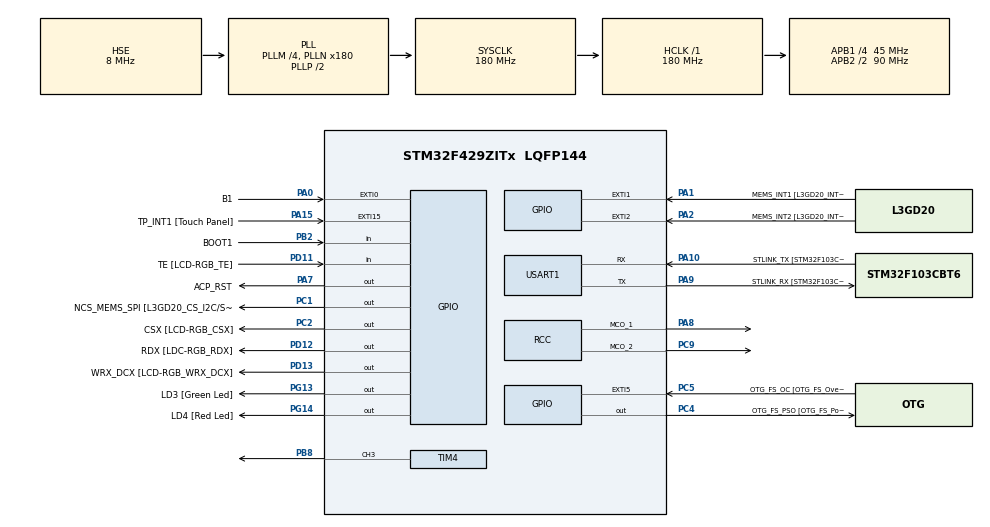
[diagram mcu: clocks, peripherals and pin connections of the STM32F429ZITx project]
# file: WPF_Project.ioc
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Mcu.Family=STM32F4
Mcu.Name=STM32F429ZITx
Mcu.Package=LQFP144
NVIC.EXTI0_IRQn=true\:0\:0\:false\:false\:true\:true\:true\:true
NVIC.PriorityGroup=NVIC_PRIORITYGROUP_4
NVIC.USART1_IRQn=true\:0\:0\:false\:false\:true\:true\:true\:true
PA0/WKUP.GPIO_Label=B1
PA0/WKUP.Signal=GPXTI0
PA1.GPIO_Label=MEMS_INT1 [L3GD20_INT1]
PA1.GPIO_ModeDefaultEXTI=GPIO_MODE_EVT_RISING
PA1.GPIO_PuPd=GPIO_NOPULL
PA1.Signal=GPXTI1
PA10.GPIO_Label=STLINK_TX [STM32F103CBT6_PA2]
PA10.Mode=Asynchronous
PA10.Signal=USART1_RX
PA11.GPIO_Label=R4
PA11.GPIO_Mode=GPIO_MODE_AF_PP
PA11.GPIO_PuPd=GPIO_NOPULL
PA11.GPIO_Speed=GPIO_SPEED_FREQ_LOW
PA11.Signal=LTDC_R4
PA12.GPIO_Label=R5
PA12.GPIO_Mode=GPIO_MODE_AF_PP
PA12.GPIO_PuPd=GPIO_NOPULL
PA12.GPIO_Speed=GPIO_SPEED_FREQ_LOW
PA12.Signal=LTDC_R5
PA13.GPIO_Label=SWDIO
PA13.Mode=Serial_Wire
PA13.Signal=SYS_JTMS-SWDIO
PA14.GPIO_Label=SWCLK
PA14.Mode=Serial_Wire
PA14.Signal=SYS_JTCK-SWCLK
PA15.GPIO_Label=TP_INT1 [Touch Panel]
PA15.GPIO_ModeDefaultEXTI=GPIO_MODE_EVT_RISING
PA15.GPIO_PuPd=GPIO_NOPULL
PA15.Signal=GPXTI15
PA2.GPIO_Label=MEMS_INT2 [L3GD20_INT2]
PA2.GPIO_ModeDefaultEXTI=GPIO_MODE_EVT_RISING
PA2.GPIO_PuPd=GPIO_NOPULL
PA2.Signal=GPXTI2
PA3.GPIO_Label=B5
PA3.GPIO_Mode=GPIO_MODE_AF_PP
PA3.GPIO_PuPd=GPIO_NOPULL
PA3.GPIO_Speed=GPIO_SPEED_FREQ_LOW
PA3.Signal=LTDC_B5
PA4.GPIO_Label=VSYNC
PA4.GPIO_Mode=GPIO_MODE_AF_PP
PA4.GPIO_PuPd=GPIO_NOPULL
PA4.GPIO_Speed=GPIO_SPEED_FREQ_LOW
PA4.Signal=LTDC_VSYNC
PA6.GPIO_Label=G2
PA6.GPIO_Mode=GPIO_MODE_AF_PP
PA6.GPIO_PuPd=GPIO_NOPULL
PA6.GPIO_Speed=GPIO_SPEED_FREQ_LOW
PA6.Signal=LTDC_G2
PA7.GPIO_Label=ACP_RST
PA7.GPIO_Mode=GPIO_MODE_OUTPUT_PP
PA7.GPIO_PuPd=GPIO_NOPULL
PA7.GPIO_Speed=GPIO_SPEED_FREQ_LOW
PA7.Signal=GPIO_Output
PA8.Mode=Clock-out-1
PA8.Signal=RCC_MCO_1
PA9.GPIO_Label=STLINK_RX [STM32F103CBT6_PA3]
PA9.Mode=Asynchronous
PA9.Signal=USART1_TX
PB0.GPIO_Label=R3
PB0.GPIO_Mode=GPIO_MODE_AF_PP
PB0.GPIO_PuPd=GPIO_NOPULL
PB0.GPIO_Speed=GPIO_SPEED_FREQ_LOW
PB0.Signal=LTDC_R3
PB1.GPIO_Label=R6
PB1.GPIO_Mode=GPIO_MODE_AF_PP
PB1.GPIO_PuPd=GPIO_NOPULL
PB1.GPIO_Speed=GPIO_SPEED_FREQ_LOW
PB1.Signal=LTDC_R6
PB10.GPIO_Label=G4
PB10.GPIO_Mode=GPIO_MODE_AF_PP
PB10.GPIO_PuPd=GPIO_NOPULL
PB10.GPIO_Speed=GPIO_SPEED_FREQ_LOW
PB10.Signal=LTDC_G4
PB11.GPIO_Label=G5
PB11.GPIO_Mode=GPIO_MODE_AF_PP
PB11.GPIO_PuPd=GPIO_NOPULL
PB11.GPIO_Speed=GPIO_SPEED_FREQ_LOW
PB11.Signal=LTDC_G5
PB12.GPIO_Label=OTG_HS_ID
PB12.GPIO_Mode=GPIO_MODE_AF_PP
PB12.GPIO_PuPd=GPIO_NOPULL
PB12.GPIO_Speed=GPIO_SPEED_FREQ_LOW
PB12.Signal=USB_OTG_HS_ID
PB13.GPIO_Label=VBUS_HS
PB13.GPIO_Mode=GPIO_MODE_INPUT
PB13.GPIO_PuPd=GPIO_NOPULL
PB13.Signal=USB_OTG_HS_VBUS
PB14.GPIO_Label=OTG_HS_DM
PB14.GPIO_Mode=GPIO_MODE_AF_PP
PB14.GPIO_PuPd=GPIO_NOPULL
PB14.GPIO_Speed=GPIO_SPEED_FREQ_LOW
PB14.Signal=USB_OTG_HS_DM
PB15.GPIO_Label=OTG_HS_DP
PB15.GPIO_Mode=GPIO_MODE_AF_PP
PB15.GPIO_PuPd=GPIO_NOPULL
PB15.GPIO_Speed=GPIO_SPEED_FREQ_LOW
PB15.Signal=USB_OTG_HS_DP
PB2/BOOT1.GPIO_Label=BOOT1
PB2/BOOT1.GPIO_Mode=GPIO_MODE_INPUT
PB2/BOOT1.GPIO_PuPd=GPIO_NOPULL
PB2/BOOT1.Signal=GPIO_Input
PB5.GPIO_Label=SDCKE1
PB5.GPIO_Mode=GPIO_MODE_AF_PP
PB5.GPIO_PuPd=GPIO_NOPULL
PB5.GPIO_Speed=GPIO_SPEED_FREQ_VERY_HIGH
PB5.Signal=FMC_SDCKE1
PB6.GPIO_Label=SDNE1 [SDRAM_CS]
PB6.GPIO_Mode=GPIO_MODE_AF_PP
PB6.GPIO_PuPd=GPIO_NOPULL
PB6.GPIO_Speed=GPIO_SPEED_FREQ_VERY_HIGH
PB6.Signal=FMC_SDNE1
PB8.Signal=S_TIM4_CH3
PB9.GPIO_Label=B7
PB9.GPIO_Mode=GPIO_MODE_AF_PP
PB9.GPIO_PuPd=GPIO_NOPULL
PB9.GPIO_Speed=GPIO_SPEED_FREQ_LOW
PB9.Signal=LTDC_B7
PC0.GPIO_Label=SDNWE
PC0.GPIO_Mode=GPIO_MODE_AF_PP
PC0.GPIO_PuPd=GPIO_NOPULL
PC0.GPIO_Speed=GPIO_SPEED_FREQ_VERY_HIGH
PC0.Signal=FMC_SDNWE
PC1.GPIO_Label=NCS_MEMS_SPI [L3GD20_CS_I2C/SPI]
PC1.GPIO_Mode=GPIO_MODE_OUTPUT_PP
PC1.GPIO_PuPd=GPIO_NOPULL
PC1.GPIO_Speed=GPIO_SPEED_FREQ_LOW
PC1.Signal=GPIO_Output
PC10.GPIO_Label=R2
PC10.GPIO_Mode=GPIO_MODE_AF_PP
PC10.GPIO_PuPd=GPIO_NOPULL
PC10.GPIO_Speed=GPIO_SPEED_FREQ_LOW
PC10.Signal=LTDC_R2
PC14/OSC32_IN.GPIO_Label=PC14-OSC32_IN
PC14/OSC32_IN.Signal=RCC_OSC32_IN
PC15/OSC32_OUT.GPIO_Label=PC15-OSC32_OUT
PC15/OSC32_OUT.Signal=RCC_OSC32_OUT
PC2.GPIO_Label=CSX [LCD-RGB_CSX]
PC2.GPIO_Mode=GPIO_MODE_OUTPUT_PP
PC2.GPIO_PuPd=GPIO_NOPULL
PC2.GPIO_Speed=GPIO_SPEED_FREQ_LOW
PC2.Signal=GPIO_Output
PC4.GPIO_Label=OTG_FS_PSO [OTG_FS_PowerSwitchOn]
PC4.GPIO_Mode=GPIO_MODE_OUTPUT_PP
PC4.GPIO_PuPd=GPIO_NOPULL
PC4.GPIO_Speed=GPIO_SPEED_FREQ_LOW
PC4.Signal=GPIO_Output
PC5.GPIO_Label=OTG_FS_OC [OTG_FS_OverCurrent]
PC5.GPIO_ModeDefaultEXTI=GPIO_MODE_EVT_RISING
PC5.Signal=GPXTI5
PC6.GPIO_Label=HSYNC
PC6.GPIO_Mode=GPIO_MODE_AF_PP
PC6.GPIO_PuPd=GPIO_NOPULL
PC6.GPIO_Speed=GPIO_SPEED_FREQ_LOW
PC6.Signal=LTDC_HSYNC
PC7.GPIO_Label=G6
PC7.GPIO_Mode=GPIO_MODE_AF_PP
PC7.GPIO_PuPd=GPIO_NOPULL
PC7.GPIO_Speed=GPIO_SPEED_FREQ_LOW
PC7.Signal=LTDC_G6
PC9.Mode=Clock-out-2
PC9.Signal=RCC_MCO_2
PD0.GPIO_Label=D2
PD0.GPIO_Mode=GPIO_MODE_AF_PP
PD0.GPIO_PuPd=GPIO_NOPULL
PD0.GPIO_Speed=GPIO_SPEED_FREQ_VERY_HIGH
PD0.Signal=FMC_D2_DA2
PD1.GPIO_Label=D3
PD1.GPIO_Mode=GPIO_MODE_AF_PP
PD1.GPIO_PuPd=GPIO_NOPULL
PD1.GPIO_Speed=GPIO_SPEED_FREQ_VERY_HIGH
PD1.Signal=FMC_D3_DA3
PD10.GPIO_Label=D15
PD10.GPIO_Mode=GPIO_MODE_AF_PP
PD10.GPIO_PuPd=GPIO_NOPULL
PD10.GPIO_Speed=GPIO_SPEED_FREQ_VERY_HIGH
PD10.Signal=FMC_D15_DA15
PD11.GPIO_Label=TE [LCD-RGB_TE]
PD11.GPIO_Mode=GPIO_MODE_INPUT
PD11.GPIO_PuPd=GPIO_NOPULL
PD11.Signal=GPIO_Input
PD12.GPIO_Label=RDX [LDC-RGB_RDX]
PD12.GPIO_Mode=GPIO_MODE_OUTPUT_PP
PD12.GPIO_PuPd=GPIO_NOPULL
PD12.GPIO_Speed=GPIO_SPEED_FREQ_LOW
PD12.Signal=GPIO_Output
PD13.GPIO_Label=WRX_DCX [LCD-RGB_WRX_DCX]
PD13.GPIO_Mode=GPIO_MODE_OUTPUT_PP
PD13.GPIO_PuPd=GPIO_NOPULL
PD13.GPIO_Speed=GPIO_SPEED_FREQ_LOW
PD13.Signal=GPIO_Output
PD14.GPIO_Label=D0
PD14.GPIO_Mode=GPIO_MODE_AF_PP
PD14.GPIO_PuPd=GPIO_NOPULL
PD14.GPIO_Speed=GPIO_SPEED_FREQ_VERY_HIGH
PD14.Signal=FMC_D0_DA0
PD15.GPIO_Label=D1
PD15.GPIO_Mode=GPIO_MODE_AF_PP
PD15.GPIO_PuPd=GPIO_NOPULL
PD15.GPIO_Speed=GPIO_SPEED_FREQ_VERY_HIGH
PD15.Signal=FMC_D1_DA1
PD3.GPIO_Label=G7
PD3.GPIO_Mode=GPIO_MODE_AF_PP
PD3.GPIO_PuPd=GPIO_NOPULL
PD3.GPIO_Speed=GPIO_SPEED_FREQ_LOW
PD3.Signal=LTDC_G7
PD6.GPIO_Label=B2
PD6.GPIO_Mode=GPIO_MODE_AF_PP
PD6.GPIO_PuPd=GPIO_NOPULL
PD6.GPIO_Speed=GPIO_SPEED_FREQ_LOW
PD6.Signal=LTDC_B2
PD8.GPIO_Label=D13
PD8.GPIO_Mode=GPIO_MODE_AF_PP
PD8.GPIO_PuPd=GPIO_NOPULL
PD8.GPIO_Speed=GPIO_SPEED_FREQ_VERY_HIGH
PD8.Signal=FMC_D13_DA13
PD9.GPIO_Label=D14
PD9.GPIO_Mode=GPIO_MODE_AF_PP
PD9.GPIO_PuPd=GPIO_NOPULL
PD9.GPIO_Speed=GPIO_SPEED_FREQ_VERY_HIGH
PD9.Signal=FMC_D14_DA14
PE0.GPIO_Label=NBL0 [SDRAM_LDQM]
PE0.GPIO_Mode=GPIO_MODE_AF_PP
PE0.GPIO_PuPd=GPIO_NOPULL
PE0.GPIO_Speed=GPIO_SPEED_FREQ_VERY_HIGH
PE0.Signal=FMC_NBL0
PE1.GPIO_Label=NBL1 [SDRAM_UDQM]
PE1.GPIO_Mode=GPIO_MODE_AF_PP
PE1.GPIO_PuPd=GPIO_NOPULL
PE1.GPIO_Speed=GPIO_SPEED_FREQ_VERY_HIGH
PE1.Signal=FMC_NBL1
PE10.GPIO_Label=D7
PE10.GPIO_Mode=GPIO_MODE_AF_PP
PE10.GPIO_PuPd=GPIO_NOPULL
PE10.GPIO_Speed=GPIO_SPEED_FREQ_VERY_HIGH
PE10.Signal=FMC_D7_DA7
PE11.GPIO_Label=D8
PE11.GPIO_Mode=GPIO_MODE_AF_PP
PE11.GPIO_PuPd=GPIO_NOPULL
PE11.GPIO_Speed=GPIO_SPEED_FREQ_VERY_HIGH
PE11.Signal=FMC_D8_DA8
PE12.GPIO_Label=D9
PE12.GPIO_Mode=GPIO_MODE_AF_PP
PE12.GPIO_PuPd=GPIO_NOPULL
PE12.GPIO_Speed=GPIO_SPEED_FREQ_VERY_HIGH
PE12.Signal=FMC_D9_DA9
PE13.GPIO_Label=D10
PE13.GPIO_Mode=GPIO_MODE_AF_PP
PE13.GPIO_PuPd=GPIO_NOPULL
PE13.GPIO_Speed=GPIO_SPEED_FREQ_VERY_HIGH
PE13.Signal=FMC_D10_DA10
PE14.GPIO_Label=D11
PE14.GPIO_Mode=GPIO_MODE_AF_PP
PE14.GPIO_PuPd=GPIO_NOPULL
PE14.GPIO_Speed=GPIO_SPEED_FREQ_VERY_HIGH
PE14.Signal=FMC_D11_DA11
PE15.GPIO_Label=D12
PE15.GPIO_Mode=GPIO_MODE_AF_PP
PE15.GPIO_PuPd=GPIO_NOPULL
PE15.GPIO_Speed=GPIO_SPEED_FREQ_VERY_HIGH
PE15.Signal=FMC_D12_DA12
PE7.GPIO_Label=D4
PE7.GPIO_Mode=GPIO_MODE_AF_PP
PE7.GPIO_PuPd=GPIO_NOPULL
PE7.GPIO_Speed=GPIO_SPEED_FREQ_VERY_HIGH
PE7.Signal=FMC_D4_DA4
PE8.GPIO_Label=D5
PE8.GPIO_Mode=GPIO_MODE_AF_PP
PE8.GPIO_PuPd=GPIO_NOPULL
PE8.GPIO_Speed=GPIO_SPEED_FREQ_VERY_HIGH
PE8.Signal=FMC_D5_DA5
PE9.GPIO_Label=D6
PE9.GPIO_Mode=GPIO_MODE_AF_PP
PE9.GPIO_PuPd=GPIO_NOPULL
PE9.GPIO_Speed=GPIO_SPEED_FREQ_VERY_HIGH
PE9.Signal=FMC_D6_DA6
PF0.GPIO_Label=A0
PF0.GPIO_Mode=GPIO_MODE_AF_PP
PF0.GPIO_PuPd=GPIO_NOPULL
PF0.GPIO_Speed=GPIO_SPEED_FREQ_VERY_HIGH
PF0.Signal=FMC_A0
PF1.GPIO_Label=A1
PF1.GPIO_Mode=GPIO_MODE_AF_PP
PF1.GPIO_PuPd=GPIO_NOPULL
PF1.GPIO_Speed=GPIO_SPEED_FREQ_VERY_HIGH
PF1.Signal=FMC_A1
PF10.GPIO_Label=ENABLE [LCD-RGB_ENABLE]
PF10.GPIO_Mode=GPIO_MODE_AF_PP
PF10.GPIO_PuPd=GPIO_NOPULL
PF10.GPIO_Speed=GPIO_SPEED_FREQ_LOW
PF10.Signal=LTDC_DE
PF11.GPIO_Label=SDNRAS
PF11.GPIO_Mode=GPIO_MODE_AF_PP
PF11.GPIO_PuPd=GPIO_NOPULL
PF11.GPIO_Speed=GPIO_SPEED_FREQ_VERY_HIGH
PF11.Signal=FMC_SDNRAS
PF12.GPIO_Label=A6
PF12.GPIO_Mode=GPIO_MODE_AF_PP
PF12.GPIO_PuPd=GPIO_NOPULL
PF12.GPIO_Speed=GPIO_SPEED_FREQ_VERY_HIGH
PF12.Signal=FMC_A6
PF13.GPIO_Label=A7
PF13.GPIO_Mode=GPIO_MODE_AF_PP
PF13.GPIO_PuPd=GPIO_NOPULL
PF13.GPIO_Speed=GPIO_SPEED_FREQ_VERY_HIGH
PF13.Signal=FMC_A7
PF14.GPIO_Label=A8
PF14.GPIO_Mode=GPIO_MODE_AF_PP
PF14.GPIO_PuPd=GPIO_NOPULL
PF14.GPIO_Speed=GPIO_SPEED_FREQ_VERY_HIGH
PF14.Signal=FMC_A8
PF15.GPIO_Label=A9
PF15.GPIO_Mode=GPIO_MODE_AF_PP
PF15.GPIO_PuPd=GPIO_NOPULL
PF15.GPIO_Speed=GPIO_SPEED_FREQ_VERY_HIGH
PF15.Signal=FMC_A9
PF2.GPIO_Label=A2
PF2.GPIO_Mode=GPIO_MODE_AF_PP
PF2.GPIO_PuPd=GPIO_NOPULL
PF2.GPIO_Speed=GPIO_SPEED_FREQ_VERY_HIGH
PF2.Signal=FMC_A2
PF3.GPIO_Label=A3
PF3.GPIO_Mode=GPIO_MODE_AF_PP
PF3.GPIO_PuPd=GPIO_NOPULL
PF3.GPIO_Speed=GPIO_SPEED_FREQ_VERY_HIGH
PF3.Signal=FMC_A3
PF4.GPIO_Label=A4
PF4.GPIO_Mode=GPIO_MODE_AF_PP
PF4.GPIO_PuPd=GPIO_NOPULL
PF4.GPIO_Speed=GPIO_SPEED_FREQ_VERY_HIGH
PF4.Signal=FMC_A4
PF5.GPIO_Label=A5
PF5.GPIO_Mode=GPIO_MODE_AF_PP
PF5.GPIO_PuPd=GPIO_NOPULL
PF5.GPIO_Speed=GPIO_SPEED_FREQ_VERY_HIGH
PF5.Signal=FMC_A5
PF7.GPIO_Label=SPI5_SCK [L3GD20_SCL/SPC]
PF7.GPIO_Mode=GPIO_MODE_AF_PP
PF7.GPIO_PuPd=GPIO_NOPULL
PF7.GPIO_Speed=GPIO_SPEED_FREQ_LOW
PF7.Signal=SPI5_SCK
PF8.GPIO_Label=SPI5_MISO [L3GD20_SDO]
PF8.GPIO_Mode=GPIO_MODE_AF_PP
PF8.GPIO_PuPd=GPIO_NOPULL
PF8.GPIO_Speed=GPIO_SPEED_FREQ_LOW
PF8.Signal=SPI5_MISO
PF9.GPIO_Label=SPI5_MOSI [L3GD20_SDA/SDI/SDO]
PF9.GPIO_Mode=GPIO_MODE_AF_PP
PF9.GPIO_PuPd=GPIO_NOPULL
PF9.GPIO_Speed=GPIO_SPEED_FREQ_LOW
PF9.Signal=SPI5_MOSI
PG0.GPIO_Label=A10
PG0.GPIO_Mode=GPIO_MODE_AF_PP
PG0.GPIO_PuPd=GPIO_NOPULL
PG0.GPIO_Speed=GPIO_SPEED_FREQ_VERY_HIGH
PG0.Signal=FMC_A10
PG1.GPIO_Label=A11
PG1.GPIO_Mode=GPIO_MODE_AF_PP
PG1.GPIO_PuPd=GPIO_NOPULL
PG1.GPIO_Speed=GPIO_SPEED_FREQ_VERY_HIGH
PG1.Signal=FMC_A11
PG10.GPIO_Label=G3
PG10.GPIO_Mode=GPIO_MODE_AF_PP
PG10.GPIO_PuPd=GPIO_NOPULL
PG10.GPIO_Speed=GPIO_SPEED_FREQ_LOW
PG10.Signal=LTDC_G3
PG11.GPIO_Label=B3
PG11.GPIO_Mode=GPIO_MODE_AF_PP
PG11.GPIO_PuPd=GPIO_NOPULL
PG11.GPIO_Speed=GPIO_SPEED_FREQ_LOW
PG11.Signal=LTDC_B3
PG12.GPIO_Label=B4
PG12.GPIO_Mode=GPIO_MODE_AF_PP
PG12.GPIO_PuPd=GPIO_NOPULL
PG12.GPIO_Speed=GPIO_SPEED_FREQ_LOW
PG12.Signal=LTDC_B4
PG13.GPIO_Label=LD3 [Green Led]
PG13.GPIO_Mode=GPIO_MODE_OUTPUT_PP
PG13.GPIO_PuPd=GPIO_NOPULL
PG13.GPIO_Speed=GPIO_SPEED_FREQ_LOW
PG13.Signal=GPIO_Output
PG14.GPIO_Label=LD4 [Red Led]
PG14.GPIO_Mode=GPIO_MODE_OUTPUT_PP
PG14.GPIO_PuPd=GPIO_NOPULL
PG14.GPIO_Speed=GPIO_SPEED_FREQ_LOW
PG14.Signal=GPIO_Output
PG15.GPIO_Label=SDNCAS
PG15.GPIO_Mode=GPIO_MODE_AF_PP
PG15.GPIO_PuPd=GPIO_NOPULL
PG15.GPIO_Speed=GPIO_SPEED_FREQ_VERY_HIGH
PG15.Signal=FMC_SDNCAS
PG4.GPIO_Label=BA0
PG4.GPIO_Mode=GPIO_MODE_AF_PP
PG4.GPIO_PuPd=GPIO_NOPULL
PG4.GPIO_Speed=GPIO_SPEED_FREQ_VERY_HIGH
PG4.Signal=FMC_A14_BA0
PG5.GPIO_Label=BA1
PG5.GPIO_Mode=GPIO_MODE_AF_PP
PG5.GPIO_PuPd=GPIO_NOPULL
PG5.GPIO_Speed=GPIO_SPEED_FREQ_VERY_HIGH
PG5.Signal=FMC_A15_BA1
PG6.GPIO_Label=R7
PG6.GPIO_Mode=GPIO_MODE_AF_PP
PG6.GPIO_PuPd=GPIO_NOPULL
PG6.GPIO_Speed=GPIO_SPEED_FREQ_LOW
PG6.Signal=LTDC_R7
PG7.GPIO_Label=DOTCLK [LCT-RGB_DOTCLK]
PG7.GPIO_Mode=GPIO_MODE_AF_PP
PG7.GPIO_PuPd=GPIO_NOPULL
PG7.GPIO_Speed=GPIO_SPEED_FREQ_LOW
PG7.Signal=LTDC_CLK
PG8.GPIO_Label=SDCLK
PG8.GPIO_Mode=GPIO_MODE_AF_PP
PG8.GPIO_PuPd=GPIO_NOPULL
PG8.GPIO_Speed=GPIO_SPEED_FREQ_VERY_HIGH
PG8.Signal=FMC_SDCLK
PH0/OSC_IN.GPIO_Label=PH0-OSC_IN
PH0/OSC_IN.Mode=HSE-External-Oscillator
PH0/OSC_IN.Signal=RCC_OSC_IN
PH1/OSC_OUT.GPIO_Label=PH1-OSC_OUT
PH1/OSC_OUT.Mode=HSE-External-Oscillator
PH1/OSC_OUT.Signal=RCC_OSC_OUT
ProjectManager.HeapSize=0x200
ProjectManager.StackSize=0x400
ProjectManager.TargetToolchain=STM32CubeIDE
RCC.48MHZClocksFreq_Value=120000000
RCC.AHBFreq_Value=180000000
RCC.APB1CLKDivider=RCC_HCLK_DIV4
RCC.APB1Freq_Value=45000000
RCC.APB1TimFreq_Value=90000000
RCC.APB2CLKDivider=RCC_HCLK_DIV2
RCC.APB2Freq_Value=90000000
RCC.APB2TimFreq_Value=180000000
RCC.CortexFreq_Value=180000000
RCC.HCLKFreq_Value=180000000
RCC.HSE_VALUE=8000000
RCC.HSI_VALUE=16000000
RCC.LSE_VALUE=32768
RCC.PLLM=4
RCC.PLLN=180
RCC.PLLQ=3
RCC.PLLSAIN=50
RCC.PLLSourceVirtual=RCC_PLLSOURCE_HSE
RCC.SYSCLKFreq_VALUE=180000000
RCC.SYSCLKSource=RCC_SYSCLKSOURCE_PLLCLK
RCC.VCOOutputFreq_Value=360000000
SH.FMC_A0.0=FMC_A0
SH.FMC_A1.0=FMC_A1
SH.FMC_A10.0=FMC_A10
SH.FMC_A11.0=FMC_A11
SH.FMC_A14_BA0.0=FMC_BA0
SH.FMC_A15_BA1.0=FMC_BA1
SH.FMC_A2.0=FMC_A2
SH.FMC_A3.0=FMC_A3
SH.FMC_A4.0=FMC_A4
SH.FMC_A5.0=FMC_A5
SH.FMC_A6.0=FMC_A6
SH.FMC_A7.0=FMC_A7
SH.FMC_A8.0=FMC_A8
SH.FMC_A9.0=FMC_A9
SH.FMC_D0_DA0.0=FMC_D0
SH.FMC_D10_DA10.0=FMC_D10
SH.FMC_D11_DA11.0=FMC_D11
SH.FMC_D12_DA12.0=FMC_D12
SH.FMC_D13_DA13.0=FMC_D13
SH.FMC_D14_DA14.0=FMC_D14
SH.FMC_D15_DA15.0=FMC_D15
SH.FMC_D1_DA1.0=FMC_D1
SH.FMC_D2_DA2.0=FMC_D2
SH.FMC_D3_DA3.0=FMC_D3
SH.FMC_D4_DA4.0=FMC_D4
SH.FMC_D5_DA5.0=FMC_D5
SH.FMC_D6_DA6.0=FMC_D6
SH.FMC_D7_DA7.0=FMC_D7
SH.FMC_D8_DA8.0=FMC_D8
SH.FMC_D9_DA9.0=FMC_D9
SH.FMC_NBL0.0=FMC_NBL0
SH.FMC_NBL1.0=FMC_NBL1
SH.FMC_SDCLK.0=FMC_SDCLK
SH.FMC_SDNCAS.0=FMC_SDNCAS
SH.FMC_SDNRAS.0=FMC_SDNRAS
SH.FMC_SDNWE.0=FMC_SDNWE
SH.S_TIM4_CH3.0=TIM4_CH3,PWM Generation3 CH3
TIM4.AutoReloadPreload=TIM_AUTORELOAD_PRELOAD_ENABLE
TIM4.Channel-PWM\ Generation3\ CH3=TIM_CHANNEL_3
TIM4.CounterMode=TIM_COUNTERMODE_UP
TIM4.Period=19999
TIM4.Prescaler=89
TIM4.Pulse-PWM\ Generation3\ CH3=1500
USART1.VirtualMode=VM_ASYNC
VP_TIM4_VS_ClockSourceINT.Mode=Internal
board=STM32F429I-DISC1

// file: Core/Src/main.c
/* USER CODE BEGIN Header */
/**
  ******************************************************************************
  * @file           : main.c
  * @brief          : Main program body
  ******************************************************************************
  * @attention
  *
  * Copyright (c) 2022 STMicroelectronics.
  * All rights reserved.
  *
  * This software is licensed under terms that can be found in the LICENSE file
  * in the root directory of this software component.
  * If no LICENSE file comes with this software, it is provided AS-IS.
  *
  ******************************************************************************
  */
/* USER CODE END Header */
#include "main.h"

/* USER CODE BEGIN Includes */
#include <stdio.h>
#include <string.h>

/* USER CODE END Includes */

/* USER CODE BEGIN PM */
typedef int Bool;
#define TRUE 1
#define FALSE 0
#define DIV	60
/* USER CODE END PM */

TIM_HandleTypeDef htim4;

UART_HandleTypeDef huart1;

/* USER CODE BEGIN PV */
uint32_t speed_score = 0;
uint8_t rx_data;            // UART 1바이트 수신 버퍼
uint8_t is_running = 0;     // 0: 정지, 1: 동작
int16_t const min_angle = 0;      // 최소 이동 각도 (기본 0도)
int16_t const max_angle = 180;    // 최대 이동 각도 (기본 180도)

const uint32_t SPEED_DELAY_TABLE[10] = {100, 70, 50, 36, 26, 19, 14, 10, 7, 5};

uint8_t speed_level = 5;    // 기본 속도: 5단계 (26ms)
int16_t step_angle = 2;     // 이동 단위 각도: 2도 고정 (부드러운 움직임)

int16_t current_angle = 90; // 현재 서보모터 각도
int8_t direction = 1;       // 1: 정방향(+), -1: 역방향(-)

/* USER CODE END PV */

void SystemClock_Config(void);
static void MX_GPIO_Init(void);
static void MX_USART1_UART_Init(void);
static void MX_TIM4_Init(void);
/* USER CODE BEGIN PFP */
void Set_Servo_Angle(int16_t angle);
/* USER CODE END PFP */

int main(void)
{

  /* MCU Configuration--------------------------------------------------------*/

  /* Reset of all peripherals, Initializes the Flash interface and the Systick. */
  HAL_Init();

  /* Configure the system clock */
  SystemClock_Config();

  /* Initialize all configured peripherals */
  MX_GPIO_Init();
  MX_USART1_UART_Init();
  MX_TIM4_Init();
  /* USER CODE BEGIN 2 */

  HAL_TIM_PWM_Start(&htim4, TIM_CHANNEL_3);
  Set_Servo_Angle(current_angle);
  HAL_UART_Receive_IT(&huart1, &rx_data, 1);
  /* USER CODE END 2 */

  /* Infinite loop */
  /* USER CODE BEGIN WHILE */
  while (1)
  {
	  if (is_running)
	        {
	            // 지정된 범위(min_angle ~ max_angle) 사이를 1도씩 왕복 이동
	            current_angle += (direction * step_angle);

	            if (current_angle >= max_angle)
	            {
	                current_angle = max_angle;
	                direction = -1; // 역방향 전환 (-)
	            }
	            else if (current_angle <= min_angle)
	            {
	                current_angle = min_angle;
	                direction = 1;  // 정방향 전환 (+)
	            }

	            Set_Servo_Angle(current_angle);
	            HAL_Delay(SPEED_DELAY_TABLE[speed_level - 1]);
	        }
	        else
	        {
	            HAL_Delay(50); // 정지 상태 시 CPU 부하 완화
	        }
    /* USER CODE END WHILE */

  }
}

void SystemClock_Config(void)
{
  RCC_OscInitTypeDef RCC_OscInitStruct = {0};
  RCC_ClkInitTypeDef RCC_ClkInitStruct = {0};

  /** Configure the main internal regulator output voltage
  */
  __HAL_RCC_PWR_CLK_ENABLE();
  __HAL_PWR_VOLTAGESCALING_CONFIG(PWR_REGULATOR_VOLTAGE_SCALE1);

  /** Initializes the RCC Oscillators according to the specified parameters
  * in the RCC_OscInitTypeDef structure.
  */
  RCC_OscInitStruct.OscillatorType = RCC_OSCILLATORTYPE_HSI|RCC_OSCILLATORTYPE_HSE;
  RCC_OscInitStruct.HSEState = RCC_HSE_ON;
  RCC_OscInitStruct.HSIState = RCC_HSI_ON;
  RCC_OscInitStruct.HSICalibrationValue = RCC_HSICALIBRATION_DEFAULT;
  RCC_OscInitStruct.PLL.PLLState = RCC_PLL_ON;
  RCC_OscInitStruct.PLL.PLLSource = RCC_PLLSOURCE_HSE;
  RCC_OscInitStruct.PLL.PLLM = 4;
  RCC_OscInitStruct.PLL.PLLN = 180;
  RCC_OscInitStruct.PLL.PLLP = RCC_PLLP_DIV2;
  RCC_OscInitStruct.PLL.PLLQ = 3;
  if (HAL_RCC_OscConfig(&RCC_OscInitStruct) != HAL_OK)
  {
    Error_Handler();
  }

  /** Activate the Over-Drive mode
  */
  if (HAL_PWREx_EnableOverDrive() != HAL_OK)
  {
    Error_Handler();
  }

  /** Initializes the CPU, AHB and APB buses clocks
  */
  RCC_ClkInitStruct.ClockType = RCC_CLOCKTYPE_HCLK|RCC_CLOCKTYPE_SYSCLK
                              |RCC_CLOCKTYPE_PCLK1|RCC_CLOCKTYPE_PCLK2;
  RCC_ClkInitStruct.SYSCLKSource = RCC_SYSCLKSOURCE_PLLCLK;
  RCC_ClkInitStruct.AHBCLKDivider = RCC_SYSCLK_DIV1;
  RCC_ClkInitStruct.APB1CLKDivider = RCC_HCLK_DIV4;
  RCC_ClkInitStruct.APB2CLKDivider = RCC_HCLK_DIV2;

  if (HAL_RCC_ClockConfig(&RCC_ClkInitStruct, FLASH_LATENCY_5) != HAL_OK)
  {
    Error_Handler();
  }
  HAL_RCC_MCOConfig(RCC_MCO1, RCC_MCO1SOURCE_HSI, RCC_MCODIV_1);
  HAL_RCC_MCOConfig(RCC_MCO2, RCC_MCO2SOURCE_SYSCLK, RCC_MCODIV_1);
}

static void MX_TIM4_Init(void)
{

  TIM_ClockConfigTypeDef sClockSourceConfig = {0};
  TIM_MasterConfigTypeDef sMasterConfig = {0};
  TIM_OC_InitTypeDef sConfigOC = {0};

  htim4.Instance = TIM4;
  htim4.Init.Prescaler = 89;
  htim4.Init.CounterMode = TIM_COUNTERMODE_UP;
  htim4.Init.Period = 19999;
  htim4.Init.ClockDivision = TIM_CLOCKDIVISION_DIV1;
  htim4.Init.AutoReloadPreload = TIM_AUTORELOAD_PRELOAD_ENABLE;
  if (HAL_TIM_Base_Init(&htim4) != HAL_OK)
  {
    Error_Handler();
  }
  sClockSourceConfig.ClockSource = TIM_CLOCKSOURCE_INTERNAL;
  if (HAL_TIM_ConfigClockSource(&htim4, &sClockSourceConfig) != HAL_OK)
  {
    Error_Handler();
  }
  if (HAL_TIM_PWM_Init(&htim4) != HAL_OK)
  {
    Error_Handler();
  }
  sMasterConfig.MasterOutputTrigger = TIM_TRGO_RESET;
  sMasterConfig.MasterSlaveMode = TIM_MASTERSLAVEMODE_DISABLE;
  if (HAL_TIMEx_MasterConfigSynchronization(&htim4, &sMasterConfig) != HAL_OK)
  {
    Error_Handler();
  }
  sConfigOC.OCMode = TIM_OCMODE_PWM1;
  sConfigOC.Pulse = 1500;
  sConfigOC.OCPolarity = TIM_OCPOLARITY_HIGH;
  sConfigOC.OCFastMode = TIM_OCFAST_DISABLE;
  if (HAL_TIM_PWM_ConfigChannel(&htim4, &sConfigOC, TIM_CHANNEL_3) != HAL_OK)
  {
    Error_Handler();
  }
  HAL_TIM_MspPostInit(&htim4);

}

static void MX_USART1_UART_Init(void)
{

  huart1.Instance = USART1;
  huart1.Init.BaudRate = 115200;
  huart1.Init.WordLength = UART_WORDLENGTH_8B;
  huart1.Init.StopBits = UART_STOPBITS_1;
  huart1.Init.Parity = UART_PARITY_NONE;
  huart1.Init.Mode = UART_MODE_TX_RX;
  huart1.Init.HwFlowCtl = UART_HWCONTROL_NONE;
  huart1.Init.OverSampling = UART_OVERSAMPLING_16;
  if (HAL_UART_Init(&huart1) != HAL_OK)
  {
    Error_Handler();
  }

}

static void MX_GPIO_Init(void)
{
  GPIO_InitTypeDef GPIO_InitStruct = {0};

  /* GPIO Ports Clock Enable */
  __HAL_RCC_GPIOC_CLK_ENABLE();
  __HAL_RCC_GPIOF_CLK_ENABLE();
  __HAL_RCC_GPIOH_CLK_ENABLE();
  __HAL_RCC_GPIOA_CLK_ENABLE();
  __HAL_RCC_GPIOB_CLK_ENABLE();
  __HAL_RCC_GPIOG_CLK_ENABLE();
  __HAL_RCC_GPIOE_CLK_ENABLE();
  __HAL_RCC_GPIOD_CLK_ENABLE();

  /*Configure GPIO pin Output Level */
  HAL_GPIO_WritePin(GPIOC, NCS_MEMS_SPI_Pin|CSX_Pin|OTG_FS_PSO_Pin, GPIO_PIN_RESET);

  /*Configure GPIO pin Output Level */
  HAL_GPIO_WritePin(ACP_RST_GPIO_Port, ACP_RST_Pin, GPIO_PIN_RESET);

  /*Configure GPIO pin Output Level */
  HAL_GPIO_WritePin(GPIOD, RDX_Pin|WRX_DCX_Pin, GPIO_PIN_RESET);

  /*Configure GPIO pin Output Level */
  HAL_GPIO_WritePin(GPIOG, LD3_Pin|LD4_Pin, GPIO_PIN_RESET);

  /*Configure GPIO pins : A0_Pin A1_Pin A2_Pin A3_Pin
                           A4_Pin A5_Pin SDNRAS_Pin A6_Pin
                           A7_Pin A8_Pin A9_Pin */
  GPIO_InitStruct.Pin = A0_Pin|A1_Pin|A2_Pin|A3_Pin
                          |A4_Pin|A5_Pin|SDNRAS_Pin|A6_Pin
                          |A7_Pin|A8_Pin|A9_Pin;
  GPIO_InitStruct.Mode = GPIO_MODE_AF_PP;
  GPIO_InitStruct.Pull = GPIO_NOPULL;
  GPIO_InitStruct.Speed = GPIO_SPEED_FREQ_VERY_HIGH;
  GPIO_InitStruct.Alternate = GPIO_AF12_FMC;
  HAL_GPIO_Init(GPIOF, &GPIO_InitStruct);

  /*Configure GPIO pins : SPI5_SCK_Pin SPI5_MISO_Pin SPI5_MOSI_Pin */
  GPIO_InitStruct.Pin = SPI5_SCK_Pin|SPI5_MISO_Pin|SPI5_MOSI_Pin;
  GPIO_InitStruct.Mode = GPIO_MODE_AF_PP;
  GPIO_InitStruct.Pull = GPIO_NOPULL;
  GPIO_InitStruct.Speed = GPIO_SPEED_FREQ_LOW;
  GPIO_InitStruct.Alternate = GPIO_AF5_SPI5;
  HAL_GPIO_Init(GPIOF, &GPIO_InitStruct);

  /*Configure GPIO pin : ENABLE_Pin */
  GPIO_InitStruct.Pin = ENABLE_Pin;
  GPIO_InitStruct.Mode = GPIO_MODE_AF_PP;
  GPIO_InitStruct.Pull = GPIO_NOPULL;
  GPIO_InitStruct.Speed = GPIO_SPEED_FREQ_LOW;
  GPIO_InitStruct.Alternate = GPIO_AF14_LTDC;
  HAL_GPIO_Init(ENABLE_GPIO_Port, &GPIO_InitStruct);

  /*Configure GPIO pin : SDNWE_Pin */
  GPIO_InitStruct.Pin = SDNWE_Pin;
  GPIO_InitStruct.Mode = GPIO_MODE_AF_PP;
  GPIO_InitStruct.Pull = GPIO_NOPULL;
  GPIO_InitStruct.Speed = GPIO_SPEED_FREQ_VERY_HIGH;
  GPIO_InitStruct.Alternate = GPIO_AF12_FMC;
  HAL_GPIO_Init(SDNWE_GPIO_Port, &GPIO_InitStruct);

  /*Configure GPIO pins : NCS_MEMS_SPI_Pin CSX_Pin OTG_FS_PSO_Pin */
  GPIO_InitStruct.Pin = NCS_MEMS_SPI_Pin|CSX_Pin|OTG_FS_PSO_Pin;
  GPIO_InitStruct.Mode = GPIO_MODE_OUTPUT_PP;
  GPIO_InitStruct.Pull = GPIO_NOPULL;
  GPIO_InitStruct.Speed = GPIO_SPEED_FREQ_LOW;
  HAL_GPIO_Init(GPIOC, &GPIO_InitStruct);

  /*Configure GPIO pin : B1_Pin */
  GPIO_InitStruct.Pin = B1_Pin;
  GPIO_InitStruct.Mode = GPIO_MODE_IT_RISING;
  GPIO_InitStruct.Pull = GPIO_NOPULL;
  HAL_GPIO_Init(B1_GPIO_Port, &GPIO_InitStruct);

  /*Configure GPIO pins : MEMS_INT1_Pin MEMS_INT2_Pin TP_INT1_Pin */
  GPIO_InitStruct.Pin = MEMS_INT1_Pin|MEMS_INT2_Pin|TP_INT1_Pin;
  GPIO_InitStruct.Mode = GPIO_MODE_EVT_RISING;
  GPIO_InitStruct.Pull = GPIO_NOPULL;
  HAL_GPIO_Init(GPIOA, &GPIO_InitStruct);

  /*Configure GPIO pins : B5_Pin VSYNC_Pin G2_Pin R4_Pin
                           R5_Pin */
  GPIO_InitStruct.Pin = B5_Pin|VSYNC_Pin|G2_Pin|R4_Pin
                          |R5_Pin;
  GPIO_InitStruct.Mode = GPIO_MODE_AF_PP;
  GPIO_InitStruct.Pull = GPIO_NOPULL;
  GPIO_InitStruct.Speed = GPIO_SPEED_FREQ_LOW;
  GPIO_InitStruct.Alternate = GPIO_AF14_LTDC;
  HAL_GPIO_Init(GPIOA, &GPIO_InitStruct);

  /*Configure GPIO pin : ACP_RST_Pin */
  GPIO_InitStruct.Pin = ACP_RST_Pin;
  GPIO_InitStruct.Mode = GPIO_MODE_OUTPUT_PP;
  GPIO_InitStruct.Pull = GPIO_NOPULL;
  GPIO_InitStruct.Speed = GPIO_SPEED_FREQ_LOW;
  HAL_GPIO_Init(ACP_RST_GPIO_Port, &GPIO_InitStruct);

  /*Configure GPIO pin : OTG_FS_OC_Pin */
  GPIO_InitStruct.Pin = OTG_FS_OC_Pin;
  GPIO_InitStruct.Mode = GPIO_MODE_EVT_RISING;
  GPIO_InitStruct.Pull = GPIO_NOPULL;
  HAL_GPIO_Init(OTG_FS_OC_GPIO_Port, &GPIO_InitStruct);

  /*Configure GPIO pins : R3_Pin R6_Pin */
  GPIO_InitStruct.Pin = R3_Pin|R6_Pin;
  GPIO_InitStruct.Mode = GPIO_MODE_AF_PP;
  GPIO_InitStruct.Pull = GPIO_NOPULL;
  GPIO_InitStruct.Speed = GPIO_SPEED_FREQ_LOW;
  GPIO_InitStruct.Alternate = GPIO_AF9_LTDC;
  HAL_GPIO_Init(GPIOB, &GPIO_InitStruct);

  /*Configure GPIO pin : BOOT1_Pin */
  GPIO_InitStruct.Pin = BOOT1_Pin;
  GPIO_InitStruct.Mode = GPIO_MODE_INPUT;
  GPIO_InitStruct.Pull = GPIO_NOPULL;
  HAL_GPIO_Init(BOOT1_GPIO_Port, &GPIO_InitStruct);

  /*Configure GPIO pins : A10_Pin A11_Pin BA0_Pin BA1_Pin
                           SDCLK_Pin SDNCAS_Pin */
  GPIO_InitStruct.Pin = A10_Pin|A11_Pin|BA0_Pin|BA1_Pin
                          |SDCLK_Pin|SDNCAS_Pin;
  GPIO_InitStruct.Mode = GPIO_MODE_AF_PP;
  GPIO_InitStruct.Pull = GPIO_NOPULL;
  GPIO_InitStruct.Speed = GPIO_SPEED_FREQ_VERY_HIGH;
  GPIO_InitStruct.Alternate = GPIO_AF12_FMC;
  HAL_GPIO_Init(GPIOG, &GPIO_InitStruct);

  /*Configure GPIO pins : D4_Pin D5_Pin D6_Pin D7_Pin
                           D8_Pin D9_Pin D10_Pin D11_Pin
                           D12_Pin NBL0_Pin NBL1_Pin */
  GPIO_InitStruct.Pin = D4_Pin|D5_Pin|D6_Pin|D7_Pin
                          |D8_Pin|D9_Pin|D10_Pin|D11_Pin
                          |D12_Pin|NBL0_Pin|NBL1_Pin;
  GPIO_InitStruct.Mode = GPIO_MODE_AF_PP;
  GPIO_InitStruct.Pull = GPIO_NOPULL;
  GPIO_InitStruct.Speed = GPIO_SPEED_FREQ_VERY_HIGH;
  GPIO_InitStruct.Alternate = GPIO_AF12_FMC;
  HAL_GPIO_Init(GPIOE, &GPIO_InitStruct);

  /*Configure GPIO pins : G4_Pin G5_Pin B7_Pin */
  GPIO_InitStruct.Pin = G4_Pin|G5_Pin|B7_Pin;
  GPIO_InitStruct.Mode = GPIO_MODE_AF_PP;
  GPIO_InitStruct.Pull = GPIO_NOPULL;
  GPIO_InitStruct.Speed = GPIO_SPEED_FREQ_LOW;
  GPIO_InitStruct.Alternate = GPIO_AF14_LTDC;
  HAL_GPIO_Init(GPIOB, &GPIO_InitStruct);

  /*Configure GPIO pins : OTG_HS_ID_Pin OTG_HS_DM_Pin OTG_HS_DP_Pin */
  GPIO_InitStruct.Pin = OTG_HS_ID_Pin|OTG_HS_DM_Pin|OTG_HS_DP_Pin;
  GPIO_InitStruct.Mode = GPIO_MODE_AF_PP;
  GPIO_InitStruct.Pull = GPIO_NOPULL;
  GPIO_InitStruct.Speed = GPIO_SPEED_FREQ_LOW;
  GPIO_InitStruct.Alternate = GPIO_AF12_OTG_HS_FS;
  HAL_GPIO_Init(GPIOB, &GPIO_InitStruct);

  /*Configure GPIO pin : VBUS_HS_Pin */
  GPIO_InitStruct.Pin = VBUS_HS_Pin;
  GPIO_InitStruct.Mode = GPIO_MODE_INPUT;
  GPIO_InitStruct.Pull = GPIO_NOPULL;
  HAL_GPIO_Init(VBUS_HS_GPIO_Port, &GPIO_InitStruct);

  /*Configure GPIO pins : D13_Pin D14_Pin D15_Pin D0_Pin
                           D1_Pin D2_Pin D3_Pin */
  GPIO_InitStruct.Pin = D13_Pin|D14_Pin|D15_Pin|D0_Pin
                          |D1_Pin|D2_Pin|D3_Pin;
  GPIO_InitStruct.Mode = GPIO_MODE_AF_PP;
  GPIO_InitStruct.Pull = GPIO_NOPULL;
  GPIO_InitStruct.Speed = GPIO_SPEED_FREQ_VERY_HIGH;
  GPIO_InitStruct.Alternate = GPIO_AF12_FMC;
  HAL_GPIO_Init(GPIOD, &GPIO_InitStruct);

  /*Configure GPIO pin : TE_Pin */
  GPIO_InitStruct.Pin = TE_Pin;
  GPIO_InitStruct.Mode = GPIO_MODE_INPUT;
  GPIO_InitStruct.Pull = GPIO_NOPULL;
  HAL_GPIO_Init(TE_GPIO_Port, &GPIO_InitStruct);

  /*Configure GPIO pins : RDX_Pin WRX_DCX_Pin */
  GPIO_InitStruct.Pin = RDX_Pin|WRX_DCX_Pin;
  GPIO_InitStruct.Mode = GPIO_MODE_OUTPUT_PP;
  GPIO_InitStruct.Pull = GPIO_NOPULL;
  GPIO_InitStruct.Speed = GPIO_SPEED_FREQ_LOW;
  HAL_GPIO_Init(GPIOD, &GPIO_InitStruct);

  /*Configure GPIO pins : R7_Pin DOTCLK_Pin B3_Pin */
  GPIO_InitStruct.Pin = R7_Pin|DOTCLK_Pin|B3_Pin;
  GPIO_InitStruct.Mode = GPIO_MODE_AF_PP;
  GPIO_InitStruct.Pull = GPIO_NOPULL;
  GPIO_InitStruct.Speed = GPIO_SPEED_FREQ_LOW;
  GPIO_InitStruct.Alternate = GPIO_AF14_LTDC;
  HAL_GPIO_Init(GPIOG, &GPIO_InitStruct);

  /*Configure GPIO pins : HSYNC_Pin G6_Pin R2_Pin */
  GPIO_InitStruct.Pin = HSYNC_Pin|G6_Pin|R2_Pin;
  GPIO_InitStruct.Mode = GPIO_MODE_AF_PP;
  GPIO_InitStruct.Pull = GPIO_NOPULL;
  GPIO_InitStruct.Speed = GPIO_SPEED_FREQ_LOW;
  GPIO_InitStruct.Alternate = GPIO_AF14_LTDC;
  HAL_GPIO_Init(GPIOC, &GPIO_InitStruct);

  /*Configure GPIO pin : PC9 */
  GPIO_InitStruct.Pin = GPIO_PIN_9;
  GPIO_InitStruct.Mode = GPIO_MODE_AF_PP;
  GPIO_InitStruct.Pull = GPIO_NOPULL;
  GPIO_InitStruct.Speed = GPIO_SPEED_FREQ_LOW;
  GPIO_InitStruct.Alternate = GPIO_AF0_MCO;
  HAL_GPIO_Init(GPIOC, &GPIO_InitStruct);

  /*Configure GPIO pin : PA8 */
  GPIO_InitStruct.Pin = GPIO_PIN_8;
  GPIO_InitStruct.Mode = GPIO_MODE_AF_PP;
  GPIO_InitStruct.Pull = GPIO_NOPULL;
  GPIO_InitStruct.Speed = GPIO_SPEED_FREQ_LOW;
  GPIO_InitStruct.Alternate = GPIO_AF0_MCO;
  HAL_GPIO_Init(GPIOA, &GPIO_InitStruct);

  /*Configure GPIO pins : G7_Pin B2_Pin */
  GPIO_InitStruct.Pin = G7_Pin|B2_Pin;
  GPIO_InitStruct.Mode = GPIO_MODE_AF_PP;
  GPIO_InitStruct.Pull = GPIO_NOPULL;
  GPIO_InitStruct.Speed = GPIO_SPEED_FREQ_LOW;
  GPIO_InitStruct.Alternate = GPIO_AF14_LTDC;
  HAL_GPIO_Init(GPIOD, &GPIO_InitStruct);

  /*Configure GPIO pins : G3_Pin B4_Pin */
  GPIO_InitStruct.Pin = G3_Pin|B4_Pin;
  GPIO_InitStruct.Mode = GPIO_MODE_AF_PP;
  GPIO_InitStruct.Pull = GPIO_NOPULL;
  GPIO_InitStruct.Speed = GPIO_SPEED_FREQ_LOW;
  GPIO_InitStruct.Alternate = GPIO_AF9_LTDC;
  HAL_GPIO_Init(GPIOG, &GPIO_InitStruct);

  /*Configure GPIO pins : LD3_Pin LD4_Pin */
  GPIO_InitStruct.Pin = LD3_Pin|LD4_Pin;
  GPIO_InitStruct.Mode = GPIO_MODE_OUTPUT_PP;
  GPIO_InitStruct.Pull = GPIO_NOPULL;
  GPIO_InitStruct.Speed = GPIO_SPEED_FREQ_LOW;
  HAL_GPIO_Init(GPIOG, &GPIO_InitStruct);

  /*Configure GPIO pins : SDCKE1_Pin SDNE1_Pin */
  GPIO_InitStruct.Pin = SDCKE1_Pin|SDNE1_Pin;
  GPIO_InitStruct.Mode = GPIO_MODE_AF_PP;
  GPIO_InitStruct.Pull = GPIO_NOPULL;
  GPIO_InitStruct.Speed = GPIO_SPEED_FREQ_VERY_HIGH;
  GPIO_InitStruct.Alternate = GPIO_AF12_FMC;
  HAL_GPIO_Init(GPIOB, &GPIO_InitStruct);

  /* EXTI interrupt init*/
  HAL_NVIC_SetPriority(EXTI0_IRQn, 0, 0);
  HAL_NVIC_EnableIRQ(EXTI0_IRQn);

}

/* USER CODE BEGIN 4 */
void Set_Servo_Angle(int16_t angle)
{
    if (angle < 0) angle = 0;
    if (angle > 180) angle = 180;

    // 0도: 500us (500), 180도: 2500us (2500)
    uint16_t pulse = 500 + ((uint32_t)angle * 2000 / 180);
    __HAL_TIM_SET_COMPARE(&htim4, TIM_CHANNEL_3, pulse);
}

// UART 수신 완료 콜백 함수
void HAL_UART_RxCpltCallback(UART_HandleTypeDef *huart)
{
	HAL_GPIO_TogglePin(LD3_GPIO_Port, LD3_Pin);
	if (huart->Instance == USART1)
	    {
	    	switch (rx_data)
	    	        {
	    	            case 1: // 시작
	    	                is_running = 1;
	    	                break;

	    	            case 2: // 정지
	    	                is_running = 0;
	    	                break;

	    	            case 3: // 속도 증가 (딜레이 감소)
	    	            	if (speed_level < 10)
	    	            	{
	    	            		speed_level++;
	    	            	}
	    	            	break;

	    	            case 4: // 속도 감소 (딜레이 증가)
	    	            	if (speed_level > 1)
	    	            	{
	    	            		speed_level--;
	    	            	}
	    	            	break;

	    	            default:
	    	                break;
	    	        }

	    if(rx_data >= 1 && rx_data <= 4) {
		    if(rx_data == 2)
		    {
		    	uint8_t zero_data = 0;
		    	HAL_UART_Transmit(&huart1, &zero_data, 1, HAL_MAX_DELAY);
		    }
		    else
		    {
		    	speed_score = (uint32_t)speed_level;
			    uint8_t send_data = (uint8_t)speed_score;
			    HAL_UART_Transmit(&huart1, &send_data, 1, HAL_MAX_DELAY);
		    }
	    }

        // 다음 1바이트 수신 인터럽트 재활성화
        HAL_UART_Receive_IT(&huart1, &rx_data, 1);
    }
}

/* USER CODE END 4 */

void Error_Handler(void)
{
  __disable_irq();
  while (1)
  {
  }
}
